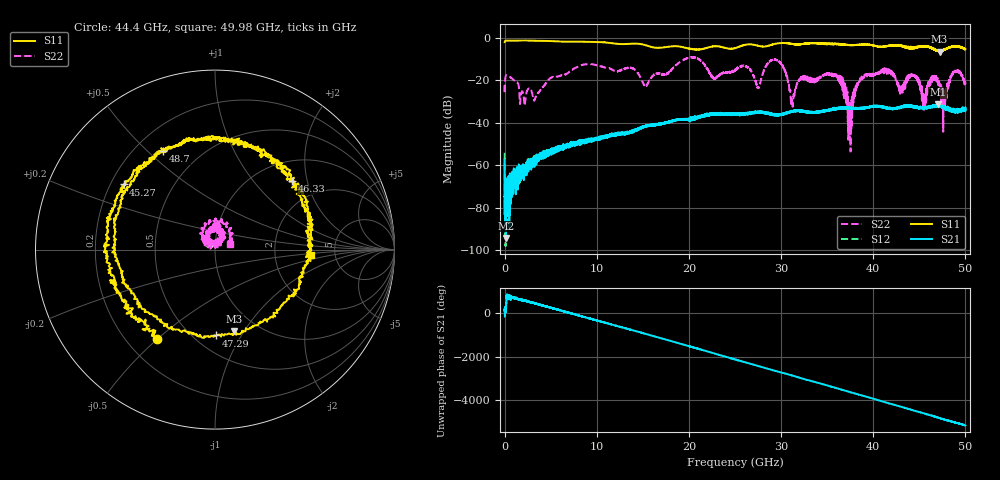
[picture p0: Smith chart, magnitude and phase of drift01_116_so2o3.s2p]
!Created with skrf (http://scikit-rf.org).
# Hz S RI R 50.0
!freq ReS11 ImS11 ReS21 ImS21 ReS12 ImS12 ReS22 ImS22
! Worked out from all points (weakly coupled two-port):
!   10001 points, 300 kHz to 50 GHz, reference 50 ohm
!   highest |S21| = -31.32 dB at 47 GHz (marker M1); lowest = -94.1 dB at 135.3 MHz (marker M2)
!   lowest |S11| = -6.6 dB at 47.2 GHz (marker M3), VSWR 2.76, Z = 38.9 - j45.3 ohm
!   |S11| at or under -10 dB: nowhere
!   |S22| runs from -53.6 to -9.2 dB; largest |S21 - S12| = 0.0046
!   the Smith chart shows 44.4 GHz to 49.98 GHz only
!   S11 on the Smith chart (normalised r, x): 44.4 GHz: 0.32, -0.50; 45.27 GHz: 0.25, +0.30; 46.33 GHz: 1.42, +1.62; 47.29 GHz: 0.63, -0.79; 48.7 GHz: 0.31, +0.56; 49.98 GHz: 3.27, -0.26
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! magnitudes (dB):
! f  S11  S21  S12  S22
! 300 kHz  -2.1  -57.3  -54.1  -22.3
! 135.3 MHz  -1.5  -94.1  -74.1  -17.9
! 3.29 GHz  -1.5  -57.5  -56.8  -28.9
! 8.335 GHz  -1.9  -49.2  -49.0  -12.9
! 16.67 GHz  -4.8  -40.7  -40.8  -16.7
! 25 GHz  -5.0  -35.5  -35.7  -15.4
! 29.58 GHz  -2.8  -36.5  -36.3  -10.6
! 31.24 GHz  -2.9  -34.8  -34.7  -31.8
! 33.34 GHz  -2.6  -35.1  -35.1  -20.2
! 36.21 GHz  -3.1  -33.3  -33.2  -19.7
! 37.49 GHz  -3.6  -32.9  -33.1  -38.7
! 38.65 GHz  -3.3  -33.0  -33.3  -20.0
! 41.67 GHz  -3.9  -33.2  -33.1  -15.5
! 44.4 GHz  -4.5  -32.3  -32.4  -17.5
! 45.27 GHz  -4.1  -32.9  -32.9  -23.9
! 46.33 GHz  -4.8  -32.4  -32.4  -18.9
! 47 GHz  -6.4  -31.3  -32.0  -19.8
! 47.2 GHz  -6.6  -31.8  -32.0  -23.1
! 47.29 GHz  -6.4  -32.2  -32.1  -23.2
! 48.7 GHz  -4.1  -34.6  -34.9  -16.2
! 49.98 GHz  -5.5  -33.6  -32.8  -21.1
! 50 GHz  -5.5  -34.1  -33.3  -21.4
